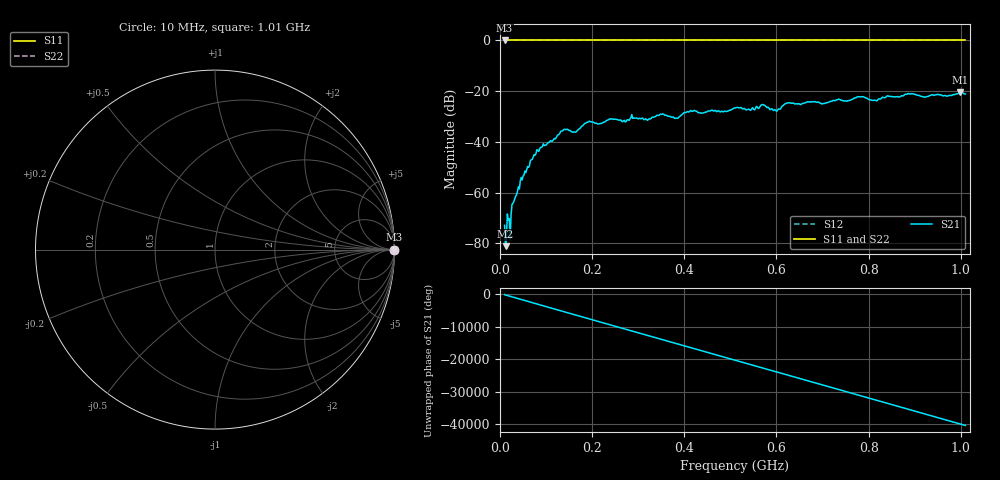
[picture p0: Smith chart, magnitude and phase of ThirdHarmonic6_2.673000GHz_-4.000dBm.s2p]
! 8/17/2025 6:13:56 AM
! C:\ANRITSUVNA\TEMP\TEMP.S2P
! CHANNEL.1
! TR.MEASUREMENT
! RAW.DATA
! RF.CORRECTION.OFF
! AVERAGING.OFF
! IF.BANDWIDTH: 5KHZ
! SWEEPTYPE:  FREQ.SWEEP(Linear)
! Reference Plane Port Info
! PORT:  PORT1  PORT2
! DISTANCE:  0  m  0  m
! TIME:  0  s  0  s
! PHASE.OFFSET:  0  deg.  0  deg.
! LOSS:  0  dB  0  dB
! REF.LOSS:  0  dB  0  dB
! REF.FREQ:  0  Hz  0  Hz
! Power Info
! POWER:  -20  dBm  -20  dBm
! EFF.POWER:  -20  dBm  -20  dBm
! SOURCE.ATTEN:  0  dB  0  dB
! TEST.ATTEN:  0  dB  0  dB
# GHZ S RI R 50.0
! FREQ.GHZ  S11RE  S11IM  S21RE  S21IM  S12RE  S12IM  S22RE  S22IM
!; PortSelection: Port_12
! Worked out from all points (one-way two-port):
!   501 points, 10 MHz to 1.01 GHz, reference 50 ohm
!   highest |S21| = -20.52 dB at 998 MHz (marker M1); lowest = -81.1 dB at 12 MHz (marker M2)
!   lowest |S11| = 0.0 dB at 10 MHz (marker M3)
!   |S11| at or under -10 dB: nowhere
!   |S22| runs from 0.0 to 0.0 dB; largest |S21 - S12| = 1.1
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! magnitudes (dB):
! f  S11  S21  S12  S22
! 10 MHz  0.0  -72.9  0.0  0.0
! 12 MHz  0.0  -81.1  0.0  0.0
! 18 MHz  0.0  -71.0  0.0  0.0
! 26 MHz  0.0  -64.7  0.0  0.0
! 30 MHz  0.0  -63.6  0.0  0.0
! 48 MHz  0.0  -55.0  0.0  0.0
! 78 MHz  0.0  -44.7  0.0  0.0
! 136 MHz  0.0  -35.7  0.0  0.0
! 162 MHz  0.0  -36.1  0.0  0.0
! 178 MHz  0.0  -33.7  0.0  0.0
! 194 MHz  0.0  -31.8  0.0  0.0
! 344 MHz  0.0  -29.6  0.0  0.0
! 382 MHz  0.0  -30.6  0.0  0.0
! 410 MHz  0.0  -28.2  0.0  0.0
! 510 MHz  0.0  -26.6  0.0  0.0
! 570 MHz  0.0  -25.2  0.0  0.0
! 598 MHz  0.0  -27.5  0.0  0.0
! 624 MHz  0.0  -24.7  0.0  0.0
! 678 MHz  0.0  -24.2  0.0  0.0
! 844 MHz  0.0  -22.0  0.0  0.0
! 998 MHz  0.0  -20.5  0.0  0.0
! 1.01 GHz  0.0  -21.1  0.0  0.0
